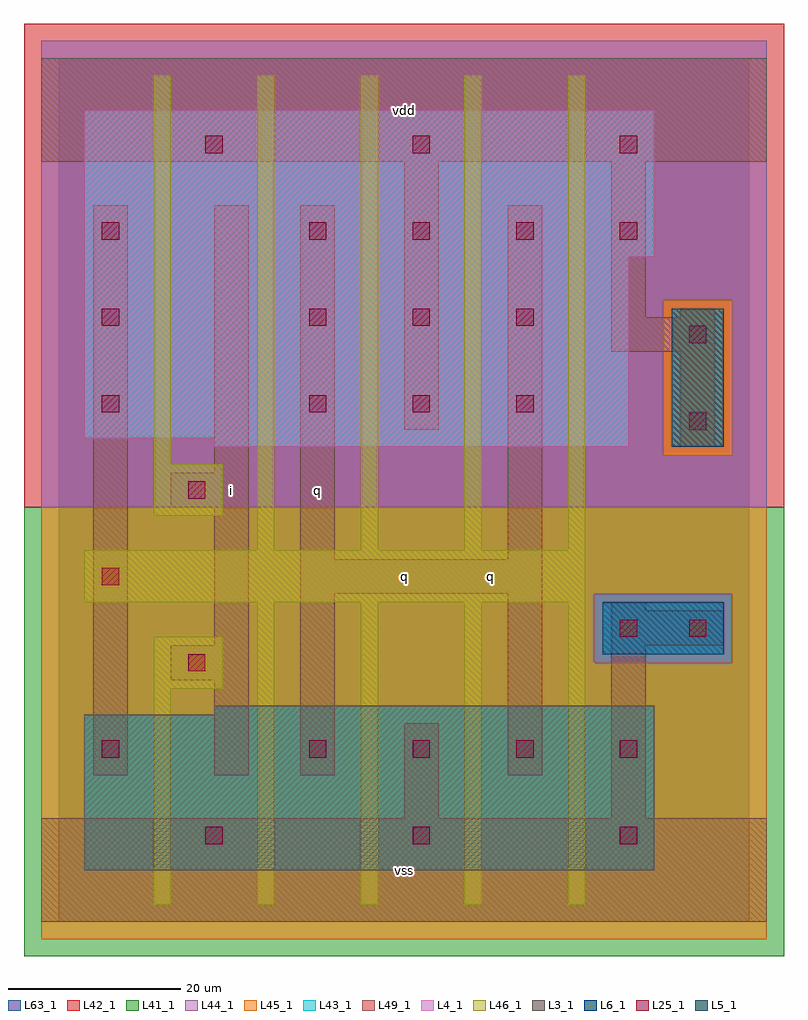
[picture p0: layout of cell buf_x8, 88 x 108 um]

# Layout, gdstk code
import gdstk
lib = gdstk.Library(unit=1e-6, precision=1e-09)
def R(c, l, rs):  # rectangles x0, y0, x1, y1
    for r in rs: c.add(gdstk.rectangle(r[:2], r[2:], *l))
def A(c, l, x, y, w, h, nx, ny, dx, dy):  # array of equal rectangles
    R(c, l, [(x+i*dx, y+j*dy, x+i*dx+w, y+j*dy+h) for i in range(nx) for j in range(ny)])
L3_1 = (3, 1)
L4_1 = (4, 1)
L5_1 = (5, 1)
L6_1 = (6, 1)
L25_1 = (25, 1)
L41_1 = (41, 1)
L42_1 = (42, 1)
L43_1 = (43, 1)
L44_1 = (44, 1)
L45_1 = (45, 1)
L46_1 = (46, 1)
L49_1 = (49, 1)
L63_1 = (63, 1)

buf_x8 = lib.new_cell('buf_x8')
R(buf_x8, L3_1, [(3,6,69,24), (18,24,69,25)])
R(buf_x8, L4_1, [(18,55,66,56), (3,56,66,77), (3,77,69,94)])
R(buf_x8, L5_1, [(71,55,77,71)])
R(buf_x8, L6_1, [(63,31,77,37), (63,31,77,37)])
A(buf_x8, L25_1, 17, 9, 2, 2, 3, 2, 24, 80)
A(buf_x8, L25_1, 5, 19, 2, 2, 1, 3, 0, 20)
A(buf_x8, L25_1, 29, 19, 2, 2, 4, 2, 12, 60)
A(buf_x8, L25_1, 29, 59, 2, 2, 3, 2, 12, 10)
R(buf_x8, L25_1, [(15,29,17,31), (65,33,67,35), (73,33,75,35), (15,49,17,51), (73,57,75,59), (73,67,75,69), (5,69,7,71), (5,79,7,81)])
R(buf_x8, L41_1, [(-4,-4,84,48)])
R(buf_x8, L42_1, [(-4,48,84,104)])
R(buf_x8, L43_1, [(3,6,69,24), (18,24,69,25), (63,31,77,37), (18,55,66,56), (71,55,77,71), (3,56,66,77), (3,77,69,94)])
R(buf_x8, L44_1, [(62,30,78,38), (-2,48,82,54), (-2,54,70,72), (78,54,82,72), (-2,72,82,102)])
R(buf_x8, L45_1, [(-2,-2,82,30), (-2,30,62,38), (78,30,82,38), (-2,38,82,48), (70,54,78,72)])
A(buf_x8, L46_1, 23, 2, 2, 35, 4, 1, 12, 0)
A(buf_x8, L46_1, 23, 43, 2, 55, 4, 1, 12, 0)
R(buf_x8, L46_1, [(11,2,13,27), (11,27,19,33), (3,37,61,43), (11,47,19,53), (11,53,13,98)])
R(buf_x8, L49_1, [(-2,0,82,12), (40,12,44,23), (64,12,68,32), (4,17,8,83), (18,17,22,28), (28,17,32,38), (52,17,56,38), (13,28,22,32), (18,32,22,48), (64,32,77,36), (64,36,68,37), (28,38,56,42), (28,42,32,83), (52,42,56,83), (13,48,22,52), (18,52,22,83), (72,55,76,66), (40,57,44,88), (64,66,76,70), (64,70,68,88), (72,70,76,71), (-2,88,82,100)])
R(buf_x8, L63_1, [(0,0,80,100)])
buf_x8.add(gdstk.Label('q', (30,50), layer=49, texttype=1))
buf_x8.add(gdstk.Label('i', (20,50), layer=49, texttype=1))
buf_x8.add(gdstk.Label('vss', (40,6), layer=49, texttype=1))
buf_x8.add(gdstk.Label('q', (40,40), layer=49, texttype=1))
buf_x8.add(gdstk.Label('q', (50,40), layer=49, texttype=1))
buf_x8.add(gdstk.Label('vdd', (40,94), layer=49, texttype=1))

lib.write_gds('buf_x8.gds')
